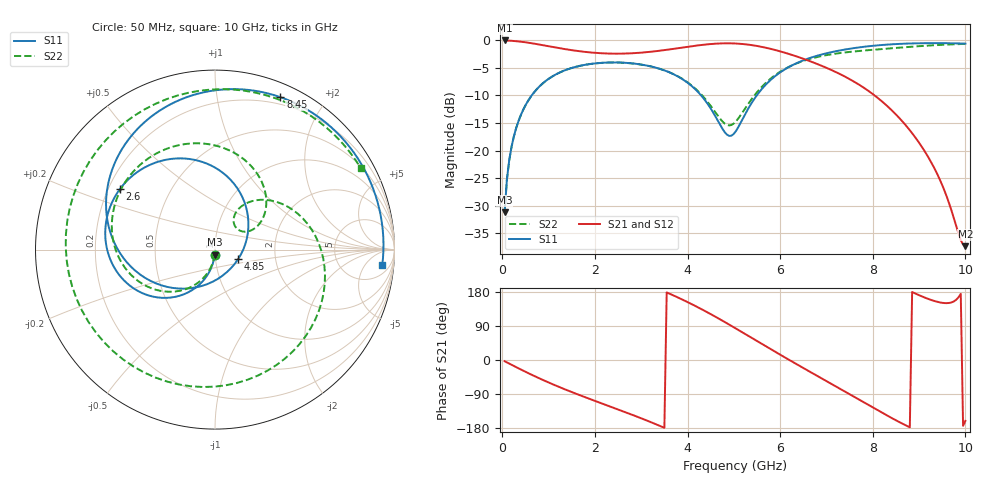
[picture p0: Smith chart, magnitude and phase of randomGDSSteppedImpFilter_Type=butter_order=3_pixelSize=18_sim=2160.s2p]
! freq	dB(S11)	phase(S11)	dB(S12)	phase(S12)
!  dB(S21)	phase(S21)	dB(S22)	phase(S22)
!S-par simulation data
#  GHz  S  DB  R 50
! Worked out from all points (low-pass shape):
!   200 points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, 50 MHz to 10 GHz, reference 50 ohm
!   highest |S21| = -0.01 dB at 50 MHz (marker M1); lowest = -37.4 dB at 10 GHz (marker M2)
!   |S21| within 3 dB of the highest: start of sweep to 6.389 GHz
!   lowest |S11| = -31.2 dB at 50 MHz (marker M3), VSWR 1.06, Z = 49.8 - j2.74 ohm
!   |S11| at or under -10 dB: start of sweep to 635 MHz; 4.294 GHz to 5.494 GHz (1.201 GHz wide, 24.5 % of centre)
!   |S22| runs from -31.2 to -0.6 dB; largest |S21 - S12| = 0
!   S11 on the Smith chart (normalised r, x): 50 MHz: 1.00, -0.05; 2.6 GHz: 0.25, +0.27; 4.85 GHz: 1.29, -0.14; 8.45 GHz: 0.13, +1.51; 10 GHz: 10, -14
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0.05  -31.20 -93.1  -0.01 -3.2  -0.01 -3.2  -31.20 -93.5
0.1  -25.22 -96.2  -0.02 -6.4  -0.02 -6.4  -25.22 -97.1
0.2  -19.31 -102.1  -0.07 -12.7  -0.07 -12.7  -19.31 -104.1
0.5  -11.80 -119.2  -0.34 -31.1  -0.34 -31.1  -11.81 -124.0
1.05  -6.70 -147.5  -1.13 -62.0  -1.13 -62.0  -6.71 -157.7
1.75  -4.49 -178.3  -2.05 -96.4  -2.05 -96.4  -4.50 164.5
2.6  -4.04 147.7  -2.40 -135.1  -2.40 -135.1  -4.05 121.5
3.4  -5.16 113.2  -1.87 -173.8  -1.87 -173.8  -5.16 79.6
4.15  -8.74 70.4  -0.99 143.7  -0.99 143.7  -8.62 39.9
4.85  -17.11 -22.2  -0.53 97.0  -0.53 97.0  -15.36 40.2
5.05  -16.40 -74.0  -0.57 82.7  -0.57 82.7  -14.66 55.8
5.85  -6.77 -165.0  -1.65 24.7  -1.65 24.7  -6.56 30.7
6.3  -4.35 167.8  -2.76 -7.2  -2.76 -7.2  -4.36 -4.7
6.7  -3.03 146.9  -3.95 -35.0  -3.95 -35.0  -3.22 -39.2
7.15  -2.05 125.5  -5.54 -66.2  -5.54 -66.2  -2.46 -80.8
7.5  -1.52 109.5  -7.03 -90.6  -7.03 -90.6  -2.09 -114.9
7.95  -1.02 89.3  -9.44 -122.0  -9.44 -122.0  -1.74 -160.4
8.35  -0.74 71.3  -12.21 -149.3  -12.21 -149.3  -1.47 159.3
8.45  -0.68 66.8  -13.03 -155.9  -13.03 -155.9  -1.40 149.5
8.8  -0.56 50.9  -16.32 -177.7  -16.32 -177.7  -1.17 116.8
9.15  -0.50 34.9  -20.52 163.4  -20.52 163.4  -0.96 87.2
10  -0.57 -5.3  -37.38 -160.7  -37.38 -160.7  -0.63 29.1
